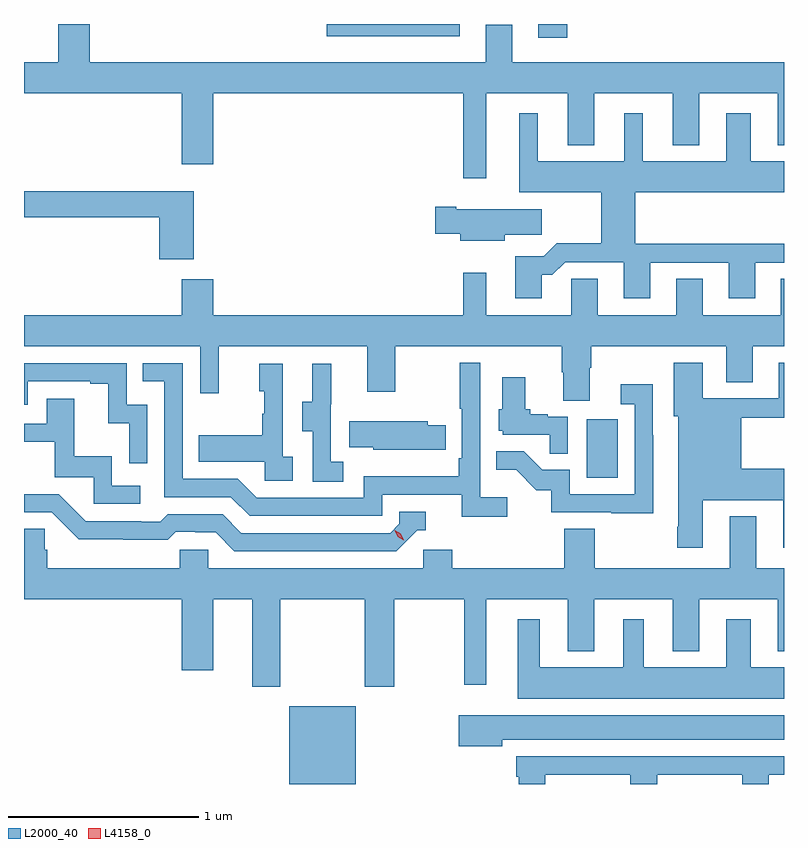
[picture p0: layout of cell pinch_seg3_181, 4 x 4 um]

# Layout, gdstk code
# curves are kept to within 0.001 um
import gdstk
lib = gdstk.Library(unit=1e-6, precision=1e-09)
def R(c, l, rs):  # rectangles x0, y0, x1, y1
    for r in rs: c.add(gdstk.rectangle(r[:2], r[2:], *l))
def P(c, l, *ps):  # polygons
    for p in ps: c.add(gdstk.Polygon(p, *l))
L2000_40 = (2000, 40)
L4158_0 = (4158, 0)

pinch_seg3_181 = lib.new_cell('pinch_seg3_181')
R(pinch_seg3_181, L2000_40, [(992.744,731.912,993.094,732.322), (994.31,733.524,994.474,733.831), (994.055,735.84,994.208,735.912), (992.943,735.848,993.643,735.912)])
P(pinch_seg3_181, L2000_40, [(993.781,735.548),(994.211,735.548),(994.211,735.275),(994.351,735.275),(994.351,735.548),(994.763,735.548),(994.763,735.275),(994.903,735.275),(994.903,735.548),(995.315,735.548),(995.315,735.275),(995.349,735.275),(995.349,735.712),(993.919,735.712),(993.919,735.907),(993.779,735.907),(993.779,735.712),(991.694,735.712),(991.694,735.912),(991.529,735.912),(991.529,735.712),(991.349,735.712),(991.349,735.548),(992.18,735.548),(992.18,735.174),(992.344,735.174),(992.344,735.548),(993.66,735.548),(993.66,735.099),(993.781,735.099)],
  [(994.075,734.591),(994.13,734.591),(994.197,734.658),(994.505,734.658),(994.505,734.469),(994.645,734.469),(994.645,734.655),(995.057,734.655),(995.057,734.469),(995.197,734.469),(995.197,734.655),(995.349,734.655),(995.349,734.756),(994.565,734.756),(994.565,735.026),(995.349,735.026),(995.349,735.19),(995.173,735.19),(995.173,735.442),(995.045,735.442),(995.045,735.19),(994.606,735.19),(994.606,735.442),(994.508,735.442),(994.508,735.19),(994.054,735.19),(994.054,735.442),(993.956,735.442),(993.956,735.026),(994.387,735.026),(994.387,734.759),(994.154,734.759),(994.084,734.689),(993.935,734.689),(993.935,734.469),(994.075,734.469)],
  [(992.243,735.032),(991.349,735.032),(991.349,734.896),(992.06,734.896),(992.06,734.673),(992.243,734.673)],
  [(993.88,734.803),(994.075,734.803),(994.075,734.938),(993.625,734.938),(993.625,734.951),(993.513,734.951),(993.513,734.809),(993.644,734.809),(993.644,734.771),(993.88,734.771)],
  [(992.18,734.38),(991.349,734.38),(991.349,734.216),(992.277,734.216),(992.277,733.968),(992.375,733.968),(992.375,734.216),(993.155,734.216),(993.155,733.977),(993.303,733.977),(993.303,734.216),(994.18,734.216),(994.18,734.079),(994.187,734.079),(994.187,733.93),(994.327,733.93),(994.327,734.104),(994.335,734.104),(994.335,734.216),(995.045,734.216),(995.045,734.026),(995.185,734.026),(995.185,734.216),(995.349,734.216),(995.349,734.57),(995.333,734.57),(995.333,734.38),(994.921,734.38),(994.921,734.57),(994.781,734.57),(994.781,734.38),(994.369,734.38),(994.369,734.57),(994.23,734.57),(994.23,734.38),(993.781,734.38),(993.781,734.602),(993.66,734.602),(993.66,734.38),(992.344,734.38),(992.344,734.569),(992.18,734.569)],
  [(994.921,733.406),(995.345,733.406),(995.345,733.155),(995.349,733.155),(995.349,733.57),(995.125,733.57),(995.125,733.84),(995.349,733.84),(995.349,734.128),(995.321,734.128),(995.321,733.941),(994.921,733.941),(994.921,734.128),(994.769,734.128),(994.769,733.848),(994.793,733.848),(994.793,733.267),(994.786,733.267),(994.786,733.155),(994.921,733.155)],
  [(993.892,733.42),(993.75,733.42),(993.75,734.128),(993.642,734.128),(993.642,733.888),(993.654,733.888),(993.654,733.627),(993.637,733.627),(993.637,733.531),(993.138,733.531),(993.138,733.419),(992.574,733.419),(992.475,733.518),(992.184,733.518),(992.184,734.127),(991.975,734.127),(991.975,734.031),(992.088,734.031),(992.088,733.422),(992.438,733.422),(992.537,733.323),(993.234,733.323),(993.234,733.434),(993.653,733.434),(993.653,733.318),(993.892,733.318)],
  [(991.998,733.908),(991.89,733.908),(991.89,734.127),(991.349,734.127),(991.349,733.908),(991.368,733.908),(991.368,734.031),(991.697,734.031),(991.697,734.019),(991.793,734.019),(991.793,733.811),(991.902,733.811),(991.902,733.599),(991.998,733.599)],
  [(992.764,733.634),(992.712,733.634),(992.712,734.125),(992.588,734.125),(992.588,733.98),(992.614,733.98),(992.614,733.862),(992.604,733.862),(992.604,733.747),(992.269,733.747),(992.269,733.607),(992.616,733.607),(992.616,733.509),(992.764,733.509)],
  [(993.028,733.607),(992.964,733.607),(992.964,733.911),(992.966,733.911),(992.966,734.125),(992.867,734.125),(992.867,733.923),(992.813,733.923),(992.813,733.768),(992.868,733.768),(992.868,733.504),(993.028,733.504)],
  [(994.212,733.845),(994.106,733.845),(994.106,733.858),(994.014,733.858),(994.014,733.884),(993.988,733.884),(993.988,734.053),(993.866,734.053),(993.866,733.884),(993.848,733.884),(993.848,733.77),(993.87,733.77),(993.87,733.749),(994.117,733.749),(994.117,733.651),(994.212,733.651)],
  [(994.66,733.748),(994.659,734.017),(994.491,734.017),(994.491,733.911),(994.563,733.911),(994.563,733.437),(994.221,733.437),(994.221,733.566),(994.077,733.566),(993.979,733.664),(993.835,733.664),(993.835,733.565),(993.939,733.565),(994.046,733.458),(994.123,733.458),(994.123,733.341),(994.441,733.341),(994.441,733.336),(994.66,733.336)],
  [(991.96,733.482),(991.812,733.482),(991.812,733.636),(991.613,733.636),(991.613,733.939),(991.469,733.939),(991.469,733.809),(991.349,733.809),(991.349,733.713),(991.511,733.713),(991.511,733.527),(991.716,733.527),(991.716,733.386),(991.96,733.386)],
  [(993.458,733.671),(993.569,733.671),(993.569,733.8),(993.475,733.8),(993.475,733.822),(993.061,733.822),(993.061,733.685),(993.186,733.685),(993.186,733.67),(993.458,733.67)],
  [(993.42,733.248),(993.463,733.248),(993.463,733.344),(993.324,733.344),(993.324,733.281),(993.276,733.233),(992.493,733.233),(992.394,733.332),(992.105,733.332),(992.066,733.293),(991.967,733.293),(991.967,733.296),(991.674,733.296),(991.533,733.437),(991.349,733.437),(991.349,733.341),(991.494,733.341),(991.636,733.199),(991.872,733.199),(991.872,733.197),(992.105,733.197),(992.147,733.239),(992.25,733.239),(992.25,733.236),(992.357,733.236),(992.456,733.137),(993.309,733.137)],
  [(992.697,732.884),(993.142,732.884),(993.142,732.423),(993.297,732.423),(993.297,732.884),(993.667,732.884),(993.667,732.435),(993.781,732.435),(993.781,732.884),(994.211,732.884),(994.211,732.611),(994.351,732.611),(994.351,732.884),(994.763,732.884),(994.763,732.611),(994.903,732.611),(994.903,732.884),(995.315,732.884),(995.315,732.611),(995.349,732.611),(995.349,733.048),(995.203,733.048),(995.203,733.321),(995.063,733.321),(995.063,733.048),(994.353,733.048),(994.353,733.256),(994.193,733.256),(994.193,733.048),(993.602,733.048),(993.602,733.146),(993.45,733.146),(993.45,733.048),(992.319,733.048),(992.319,733.146),(992.169,733.146),(992.169,733.048),(991.472,733.048),(991.472,733.146),(991.457,733.146),(991.457,733.256),(991.349,733.256),(991.349,732.884),(992.18,732.884),(992.18,732.51),(992.344,732.51),(992.344,732.884),(992.549,732.884),(992.549,732.423),(992.697,732.423)],
  [(995.349,732.526),(995.173,732.526),(995.173,732.778),(995.045,732.778),(995.045,732.526),(994.612,732.526),(994.612,732.778),(994.502,732.778),(994.502,732.526),(994.063,732.526),(994.063,732.778),(993.947,732.778),(993.947,732.362),(995.349,732.362)],
  [(993.865,732.146),(995.349,732.146),(995.349,732.274),(993.636,732.274),(993.636,732.11),(993.865,732.11)],
  [(994.093,731.961),(994.541,731.961),(994.541,731.912),(994.681,731.912),(994.681,731.961),(995.129,731.961),(995.129,731.912),(995.269,731.912),(995.269,731.961),(995.349,731.961),(995.349,732.057),(993.941,732.057),(993.941,731.949),(993.953,731.949),(993.953,731.912),(994.093,731.912)])
P(pinch_seg3_181, L4158_0, [(993.347,733.195),(993.316,733.214),(993.299,733.246),(993.299,733.247),(993.3,733.247),(993.331,733.228),(993.347,733.196),(993.347,733.195)])

lib.write_gds('pinch_seg3_181.gds')
